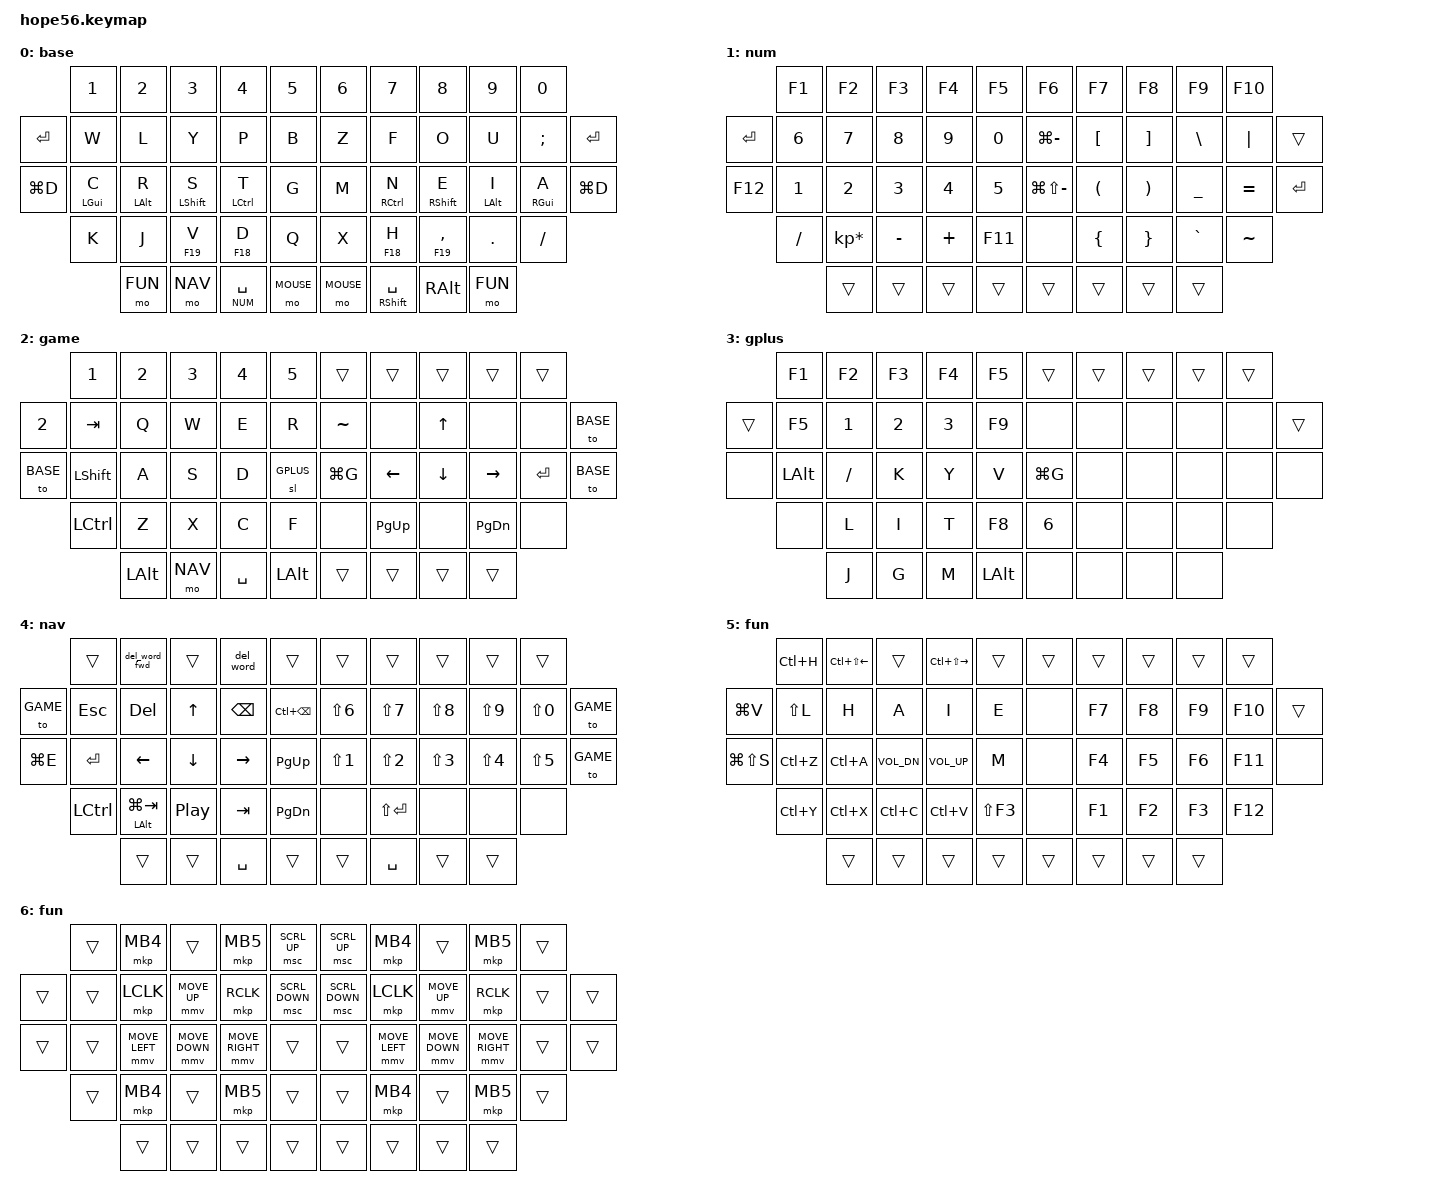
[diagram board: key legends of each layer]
#include "zmk-nodefree-config/keypos_def/keypos_56keys.h"
#include "zmk-nodefree-config/helper.h"
#include <behaviors.dtsi>
#include <dt-bindings/zmk/keys.h>
#include <dt-bindings/zmk/bt.h>
#include <dt-bindings/zmk/mouse.h>
#include <dt-bindings/zmk/outputs.h>
#include <dt-bindings/zmk/rgb.h>
#include <dt-bindings/zmk/pointing.h>
 
#define ___ &trans
 
#define BASE  0
#define NUM   1
#define GAME  2
#define GPLUS 3
#define NAV   4
#define FUN   5
#define MOUSE 6
 
#define KEYS_L LN0 LN1 LN2 LN3 LN4   LT0 LT1 LT2 LT3 LT4 LT5   LM0 LM1 LM2 LM3 LM4 LM5   LB0 LB1 LB2 LB3 LB4  // left hand
#define KEYS_R RN0 RN1 RN2 RN3 RN4   RT0 RT1 RT2 RT3 RT4 RT5   RM0 RM1 RM2 RM3 RM4 RM5   RB0 RB1 RB2 RB3 RB4  // right hand
#define THUMBS LH3 LH2 LH1 LH0   RH0 RH1 RH2 RH3                                                              // thumbs
 
#include "combos.dtsi"
#include "macros.dtsi"
 
#define HYP F18
#define MEH F19
 
#define QUICK_TAP_MS 175
 
// sticky key aka 'one-shot mods'
&sk {
    release-after-ms = <2000>;
    quick-release;
};
 
// default layer-tap config
&lt {
    flavor = "balanced";
    tapping-term-ms = <200>;
    quick-tap-ms = <QUICK_TAP_MS>;
};
 
#define MAKE_HRM(NAME, HOLD, TAP, TRIGGER_POS) \
    ZMK_BEHAVIOR(NAME, hold_tap, \
        flavor = "balanced"; \
        tapping-term-ms = <280>; \
        quick-tap-ms = <QUICK_TAP_MS>; \
        require-prior-idle-ms = <150>; \
        bindings = <HOLD>, <TAP>; \
        hold-trigger-key-positions = <TRIGGER_POS>; \
        hold-trigger-on-release; \
    )
 
MAKE_HRM(hml, &kp, &kp, KEYS_R THUMBS)  // lewostronne HRMs
MAKE_HRM(hmr, &kp, &kp, KEYS_L THUMBS)  // prawostronne HRMs
 
/ {



    keymap {
        compatible = "zmk,keymap";
 
        BASE {
            display-name = "base";
            bindings = <
              &kp N1        &kp N2        &kp N3         &kp N4         &kp N5             &kp N6           &kp N7           &kp N8           &kp N9        &kp N0       
&kp ENTER     &kp W         &kp L         &kp Y          &kp P          &kp B              &kp Z            &kp F            &kp O            &kp U         &kp SEMI     &kp ENTER
&kp LG(D)     &hml LGUI C   &hml LALT R   &hml LSHFT S   &hml LCTRL T   &kp G              &kp M            &hmr RCTRL N     &hmr RSHFT E     &hmr LALT I   &hmr RGUI A  &kp LG(D)
              &kp K         &kp J         &hml MEH V     &hml HYP D     &kp Q              &kp X            &hmr HYP H       &hmr MEH COMMA   &kp PERIOD    &kp SLASH    
                            &mo FUN       &mo NAV        &lt NUM SPACE  &mo MOUSE          &mo MOUSE        &mt RSHFT SPACE  &kp RALT         &mo FUN    
            >;
        };
 
        NUM {
            display-name = "num";
            bindings = <
              &kp F1        &kp F2        &kp F3         &kp F4         &kp F5             &kp F6            &kp F7               &kp F8                &kp F9        &kp F10       
&kp ENTER     &kp N6        &kp N7        &kp N8         &kp N9         &kp N0             &kp LG(MINUS)     &kp LEFT_BRACKET     &kp RIGHT_BRACKET     &kp BACKSLASH &kp PIPE     ___
&kp F12       &kp N1        &kp N2        &kp N3         &kp N4         &kp N5             &kp LG(LS(MINUS)) &kp LEFT_PARENTHESIS &kp RIGHT_PARENTHESIS &kp UNDER     &kp EQUAL    &kp ENTER
              &kp SLASH     &kp KP_MULTIPLY &kp MINUS    &kp PLUS       &kp F11            &none             &kp LEFT_BRACE       &kp RIGHT_BRACE       &kp GRAVE     &kp TILDE    
                                          ___            ___            ___                ___              ___              ___              ___           ___       
            >;
        };
 
        GAME {
            display-name = "game";
            bindings = <
              &kp N1        &kp N2        &kp N3         &kp N4         &kp N5             ___              ___              ___              ___           ___       
&kp N2        &kp TAB       &kp Q         &kp W          &kp E          &kp R              &kp TILDE        &none            &kp UP           &none         &none        &to BASE
&to BASE      &kp LSHIFT    &kp A         &kp S          &kp D          &sl GPLUS          &kp LG(G)        &kp LEFT         &kp DOWN         &kp RIGHT     &kp ENTER    &to BASE
              &kp LCTRL     &kp Z         &kp X          &kp C          &kp F              &none            &kp PAGE_UP      &none            &kp PAGE_DOWN &none        
                                          &kp LALT       &mo NAV        &kp SPACE          &kp LALT         ___              ___              ___           ___    
            >;
        };
 
        GPLUS {
            display-name = "gplus";
            bindings = <
              &kp F1        &kp F2        &kp F3         &kp F4         &kp F5             ___              ___              ___              ___           ___       
___           &kp F5        &kp N1        &kp N2         &kp N3         &kp F9             &none            &none            &none            &none         &none        ___
&none         &kp LALT      &kp SLASH     &kp K          &kp Y          &kp V              &kp LG(G)        &none            &none            &none         &none        &none
              &none         &kp L         &kp I          &kp T          &kp F8             &kp N6           &none            &none            &none         &none        
                            &kp J         &kp G          &kp M          &kp LALT           &none            &none            &none            &none    
            >;
        };
 
        NAV {
            display-name = "nav";
            bindings = <
              ___                  &del_word_fwd         ___               &del_word         ___                      ___         ___         ___         ___         ___       
&to GAME      &kp ESC              &kp DEL               &kp UP            &kp BACKSPACE     &kp LC(BACKSPACE)        &kp LS(N6)  &kp LS(N7)  &kp LS(N8)  &kp LS(N9)  &kp LS(N0)   &to GAME
&kp LG(E)     &kp ENTER            &kp LEFT              &kp DOWN          &kp RIGHT         &kp PG_UP                &kp LS(N1)  &kp LS(N2)  &kp LS(N3)  &kp LS(N4)  &kp LS(N5)   &to GAME
              &kp LEFT_CONTROL     &mt LEFT_ALT LG(TAB)  &kp C_PLAY_PAUSE  &kp TAB           &kp PAGE_DOWN            &none       &kp LS(ENTER)      &none       &none       &none        
                                          ___            ___            &kp SPACE                ___              ___              &kp SPACE        ___           ___       
            >;
        };
 
        FUN {
            display-name = "fun";
            bindings = <
              &kp LC(H)     &kp LC(LS(LEFT)) ___            &kp LC(LS(RIGHT)) ___                ___              ___              ___              ___           ___       
&kp LG(V)     &kp LS(L)     &kp H            &kp A          &kp I             &kp E              &none            &kp F7           &kp F8           &kp F9        &kp F10      ___
&kp LG(LS(S)) &kp LC(Z)     &kp LC(A)        &kp C_VOL_DN   &kp C_VOL_UP      &kp M              &none            &kp F4           &kp F5           &kp F6        &kp F11      &none
              &kp LC(Y)     &kp LC(X)        &kp LC(C)      &kp LC(V)         &kp LS(F3)         &none            &kp F1           &kp F2           &kp F3        &kp F12      
                                             ___            ___               ___                ___              ___              ___              ___           ___       
            >;
        };

        MOUSE {
            display-name = "fun";
            bindings = <
    ___ &mkp MB4       ___            &mkp MB5        &msc SCRL_UP     &msc SCRL_UP   &mkp MB4       ___            &mkp MB5        ___
___ ___ &mkp LCLK      &mmv MOVE_UP   &mkp RCLK       &msc SCRL_DOWN   &msc SCRL_DOWN &mkp LCLK      &mmv MOVE_UP   &mkp RCLK       ___ ___
___ ___ &mmv MOVE_LEFT &mmv MOVE_DOWN &mmv MOVE_RIGHT ___              ___            &mmv MOVE_LEFT &mmv MOVE_DOWN &mmv MOVE_RIGHT ___ ___
    ___ &mkp MB4       ___            &mkp MB5        ___              ___            &mkp MB4       ___            &mkp MB5        ___
        ___ ___ ___ ___     ___ ___ ___ ___
         >;
        };
    };
};
